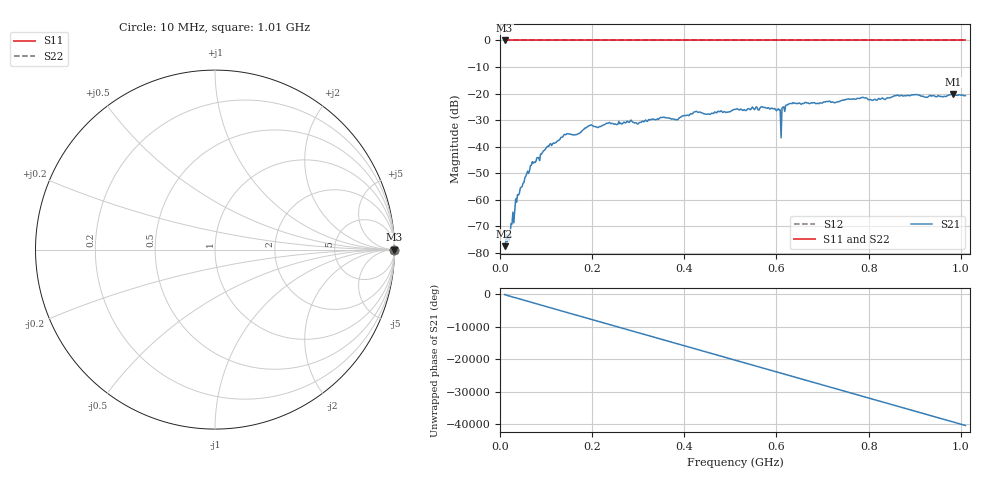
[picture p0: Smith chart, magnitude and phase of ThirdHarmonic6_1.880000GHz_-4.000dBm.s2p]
! 8/16/2025 10:42:40 PM
! C:\ANRITSUVNA\TEMP\TEMP.S2P
! CHANNEL.1
! TR.MEASUREMENT
! RAW.DATA
! RF.CORRECTION.OFF
! AVERAGING.OFF
! IF.BANDWIDTH: 5KHZ
! SWEEPTYPE:  FREQ.SWEEP(Linear)
! Reference Plane Port Info
! PORT:  PORT1  PORT2
! DISTANCE:  0  m  0  m
! TIME:  0  s  0  s
! PHASE.OFFSET:  0  deg.  0  deg.
! LOSS:  0  dB  0  dB
! REF.LOSS:  0  dB  0  dB
! REF.FREQ:  0  Hz  0  Hz
! Power Info
! POWER:  -20  dBm  -20  dBm
! EFF.POWER:  -20  dBm  -20  dBm
! SOURCE.ATTEN:  0  dB  0  dB
! TEST.ATTEN:  0  dB  0  dB
# GHZ S RI R 50.0
! FREQ.GHZ  S11RE  S11IM  S21RE  S21IM  S12RE  S12IM  S22RE  S22IM
!; PortSelection: Port_12
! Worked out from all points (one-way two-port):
!   501 points, 10 MHz to 1.01 GHz, reference 50 ohm
!   highest |S21| = -20.16 dB at 984 MHz (marker M1); lowest = -77.5 dB at 10 MHz (marker M2)
!   lowest |S11| = 0.0 dB at 10 MHz (marker M3)
!   |S11| at or under -10 dB: nowhere
!   |S22| runs from 0.0 to 0.0 dB; largest |S21 - S12| = 1.1
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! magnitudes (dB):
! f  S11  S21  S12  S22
! 10 MHz  0.0  -77.5  0.0  0.0
! 20 MHz  0.0  -75.3  0.0  0.0
! 38 MHz  0.0  -58.0  0.0  0.0
! 70 MHz  0.0  -45.7  0.0  0.0
! 106 MHz  0.0  -39.9  0.0  0.0
! 142 MHz  0.0  -35.5  0.0  0.0
! 178 MHz  0.0  -34.0  0.0  0.0
! 196 MHz  0.0  -31.9  0.0  0.0
! 344 MHz  0.0  -29.7  0.0  0.0
! 382 MHz  0.0  -29.8  0.0  0.0
! 424 MHz  0.0  -26.8  0.0  0.0
! 510 MHz  0.0  -25.9  0.0  0.0
! 572 MHz  0.0  -25.2  0.0  0.0
! 604 MHz  0.0  -25.7  0.0  0.0
! 606 MHz  0.0  -26.2  0.0  0.0
! 614 MHz  0.0  -25.1  0.0  0.0
! 616 MHz  0.0  -25.0  0.0  0.0
! 626 MHz  0.0  -23.9  0.0  0.0
! 678 MHz  0.0  -23.5  0.0  0.0
! 844 MHz  0.0  -21.6  0.0  0.0
! 984 MHz  0.0  -20.2  0.0  0.0
! 1.01 GHz  0.0  -20.8  0.0  0.0
